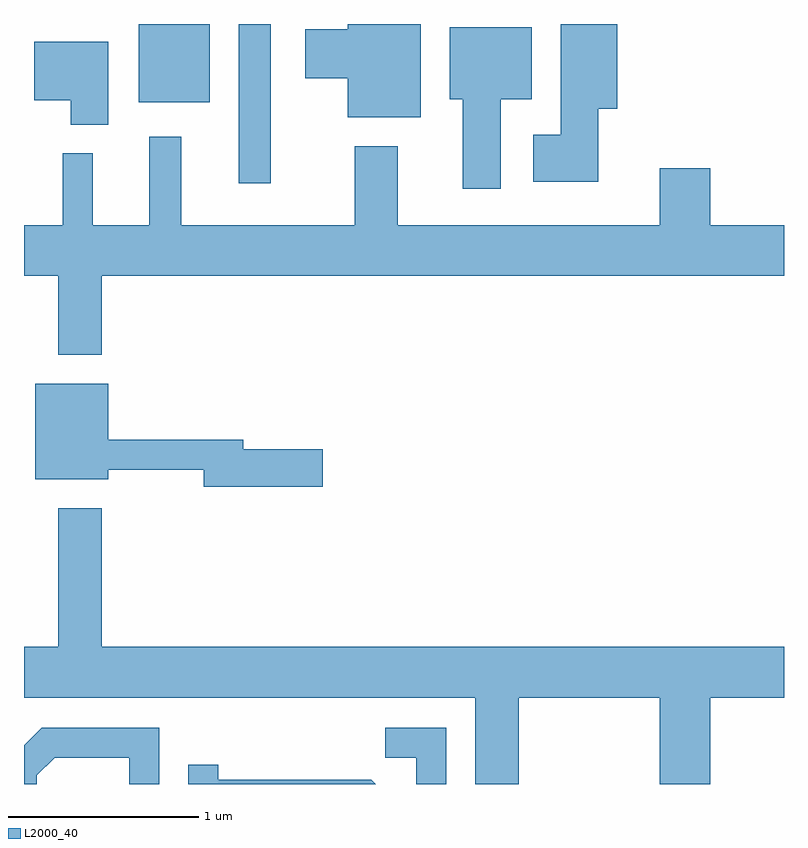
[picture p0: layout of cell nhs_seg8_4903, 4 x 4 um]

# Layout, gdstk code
import gdstk
lib = gdstk.Library(unit=1e-6, precision=1e-09)
def R(c, l, rs):  # rectangles x0, y0, x1, y1
    for r in rs: c.add(gdstk.rectangle(r[:2], r[2:], *l))
def P(c, l, *ps):  # polygons
    for p in ps: c.add(gdstk.Polygon(p, *l))
L2000_40 = (2000, 40)

nhs_seg8_4903 = lib.new_cell('nhs_seg8_4903')
R(nhs_seg8_4903, L2000_40, [(332.741,1903.503,332.909,1904.342), (332.216,1903.931,332.589,1904.342)])
P(nhs_seg8_4903, L2000_40, [(333.699,1904.342),(333.316,1904.342),(333.316,1904.314),(333.091,1904.314),(333.091,1904.056),(333.316,1904.056),(333.316,1903.851),(333.699,1903.851)],
  [(334.634,1903.896),(334.734,1903.896),(334.734,1904.342),(334.436,1904.342),(334.436,1903.759),(334.291,1903.759),(334.291,1903.511),(334.634,1903.511)],
  [(334.119,1903.946),(334.284,1903.946),(334.284,1904.324),(333.851,1904.324),(333.851,1903.946),(333.921,1903.946),(333.921,1903.476),(334.119,1903.476)],
  [(332.054,1904.249),(331.666,1904.249),(331.666,1903.941),(331.856,1903.941),(331.856,1903.811),(332.054,1903.811)],
  [(331.816,1903.663),(331.816,1903.284),(331.611,1903.284),(331.611,1903.016),(331.791,1903.016),(331.791,1902.601),(332.019,1902.601),(332.019,1903.016),(335.611,1903.016),(335.611,1903.284),(335.224,1903.284),(335.224,1903.584),(334.956,1903.584),(334.956,1903.284),(333.579,1903.284),(333.579,1903.699),(333.351,1903.699),(333.351,1903.284),(332.439,1903.284),(332.439,1903.748),(332.271,1903.748),(332.271,1903.284),(331.974,1903.284),(331.974,1903.663)],
  [(333.184,1902.104),(332.764,1902.104),(332.764,1902.154),(332.054,1902.154),(332.054,1902.449),(331.671,1902.449),(331.671,1901.946),(332.054,1901.946),(332.054,1901.996),(332.556,1901.996),(332.556,1901.906),(333.184,1901.906)],
  [(334.214,1900.796),(334.956,1900.796),(334.956,1900.342),(335.224,1900.342),(335.224,1900.796),(335.611,1900.796),(335.611,1901.064),(332.019,1901.064),(332.019,1901.794),(331.791,1901.794),(331.791,1901.064),(331.611,1901.064),(331.611,1900.796),(333.986,1900.796),(333.986,1900.342),(334.214,1900.342)],
  [(333.834,1900.639),(333.513,1900.639),(333.513,1900.481),(333.676,1900.481),(333.676,1900.342),(333.834,1900.342)],
  [(331.679,1900.389),(331.772,1900.481),(332.166,1900.481),(332.166,1900.342),(332.324,1900.342),(332.324,1900.639),(331.704,1900.639),(331.611,1900.546),(331.611,1900.342),(331.679,1900.342)],
  [(333.439,1900.364),(332.634,1900.364),(332.634,1900.443),(332.476,1900.443),(332.476,1900.342),(333.461,1900.342)])

lib.write_gds('nhs_seg8_4903.gds')
